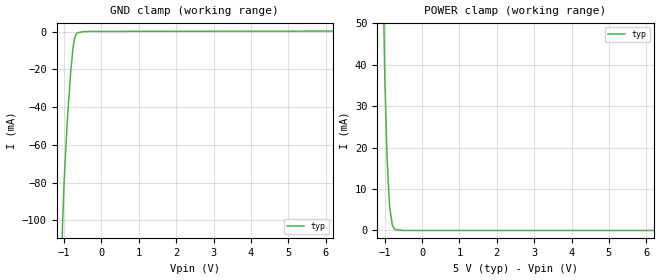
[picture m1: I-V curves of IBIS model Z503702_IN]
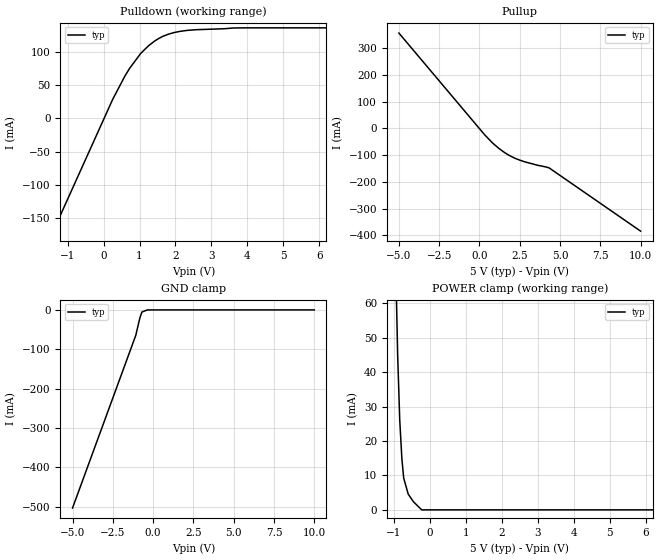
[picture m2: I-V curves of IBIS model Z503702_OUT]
| YOU ARE ONLY AUTHORIZED TO USE THIS SOFTWARE
| ACCORDING TO LICENSOR'S LICENSE RESTRICTIONS.
[IBIS Ver] 3.1
[File Name] mc74ac04n_5.ibs
[File Rev] 2.0
[Source] Measured and created by ICX Technology
[Date] Friday 7/14/00 9:07:58 AM
[Copyright]
| (C) COPYRIGHT 1993-2000
| MENTOR GRAPHICS CORPORATION
| ICX STANDARD LIBRARY, ICX PROJECT MODELING,
| ICX CUSTOM MODELING, ICX VENDOR MODEL
| ALL RIGHTS RESERVED.
| THE FOLLOWING ARE TRADEMARKS OR SERVICE MARKS OF
| MENTOR GRAPHICS CORPORATION:ICX (R), ICX STANDARD
| LIBRARY(R), ICX PROJECT MODELING(R), ICX CUSTOM
| MODELING(R), qualityIBIS(TM), MODELVIEWER(TM),
| AND MODELEDITOR(TM)
| ALL COPIES OF SOFTWARE, INCLUDING BUT NOT LIMITED TO
| ANY MODIFICATIONS, ENHANCEMENTS OR DERIVATIVE WORKS,
| MUST CONTAIN ALL MENTOR GRAPHICS CORPORATION'S
| NOTICES AND LEGENDS, INCLUDING THOSE EMBEDDED IN
| SOFTWARE AND THOSE AFFIXED TO SOFTWARE MEDIUM
| AND CONTAINER, AS RECEIVED FROM MENTOR GRAPHICS
| CORPORATION.
|  ZAP Model Builder 2.7
[Component] MC74AC04N_5
[Manufacturer] OnSemiconductor
[Package]
| variable   typ   min   max
R_pkg  .21ohms NA NA
L_pkg  4.543nH NA NA
C_pkg  1.059pF NA NA
[Pin] signal_name  model_name  R_pin  L_pin C_pin
1 A Z503702_IN .22 6.757n 1.432p
2 Y Z503702_OUT .212 4.757n 1.142p
3 A Z503702_IN .204 3.257n .852p
4 Y Z503702_OUT .196 2.257n .562p
5 A Z503702_IN .204 3.257n .852p
6 Y Z503702_OUT .212 4.757n 1.142p
7 GND GND .22 6.757n 1.432p
8 Y Z503702_OUT .22 6.757n 1.432p
9 A Z503702_IN .212 4.757n 1.142p
10 Y Z503702_OUT .204 3.257n .852p
11 A Z503702_IN .196 2.257n .562p
12 Y Z503702_OUT .204 3.257n .852p
13 A Z503702_IN .212 4.757n 1.142p
14 VCC POWER .22 6.757n 1.432p
| Models and submodels in the file (2): Z503702_IN (Input), Z503702_OUT (Output)
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| (C) COPYRIGHT 1993-2000
| MENTOR GRAPHICS CORPORATION
| ICX STANDARD LIBRARY, ICX PROJECT MODELING,
| ICX CUSTOM MODELING, ICX VENDOR MODEL
| ALL RIGHTS RESERVED.
| THE FOLLOWING ARE TRADEMARKS OR SERVICE MARKS OF
| MENTOR GRAPHICS CORPORATION:ICX (R), ICX STANDARD
| LIBRARY(R), ICX PROJECT MODELING(R), ICX CUSTOM
| MODELING(R), qualityIBIS(TM), MODELVIEWER(TM),
| AND MODELEDITOR(TM)
| ALL COPIES OF SOFTWARE, INCLUDING BUT NOT LIMITED TO
| ANY MODIFICATIONS, ENHANCEMENTS OR DERIVATIVE WORKS,
| MUST CONTAIN ALL MENTOR GRAPHICS CORPORATION'S
| NOTICES AND LEGENDS, INCLUDING THOSE EMBEDDED IN
| SOFTWARE AND THOSE AFFIXED TO SOFTWARE MEDIUM
| AND CONTAINER, AS RECEIVED FROM MENTOR GRAPHICS
| CORPORATION.
| Model Application Version 1.89 2/18/99.
[Model] Z503702_IN
Model_type Input
Vinl = 1.500V
Vinh = 3.500V
C_comp 4.000pF NA NA
| variable typ   min   max
[Voltage Range] 5.000V NA NA
[GND Clamp Reference] 0.000V NA NA
[POWER Clamp Reference] 5.000V NA NA
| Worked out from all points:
|   GND clamp passes 1 mA (typ) near -0.67 V on its own axis
|   POWER clamp passes 1 mA (typ) near -0.78 V on its own axis
[GND Clamp]
-5V       -2.665A    NA         NA
-1.177V   -213.6mA   NA         NA
-1.04V    -102.7mA   NA         NA
-999.8mV  -81.01mA   NA         NA
-918mV    -49.01mA   NA         NA
-825.1mV  -22.34mA   NA         NA
-761.7mV  -9.105mA   NA         NA
-727.5mV  -4.48mA    NA         NA
-685.6mV  -1.71mA    NA         NA
-627.8mV  -444.2uA   NA         NA
-244.1mV  182.9uA    NA         NA
10V       645uA      NA         NA
[POWER Clamp]
-5V       3.625A     NA         NA
-1.338V   274.3mA    NA         NA
-1.122V   105.1mA    NA         NA
-996mV    37.14mA    NA         NA
-933mV    17.17mA    NA         NA
-869mV    5.864mA    NA         NA
-793mV    1.252mA    NA         NA
-732mV    258.7uA    NA         NA
-488mV    0A         NA         NA
10V       0A         NA         NA
| (C) COPYRIGHT 1993-2000
| MENTOR GRAPHICS CORPORATION
| ICX STANDARD LIBRARY, ICX PROJECT MODELING,
| ICX CUSTOM MODELING, ICX VENDOR MODEL
| ALL RIGHTS RESERVED.
| THE FOLLOWING ARE TRADEMARKS OR SERVICE MARKS OF
| MENTOR GRAPHICS CORPORATION:ICX (R), ICX STANDARD
| LIBRARY(R), ICX PROJECT MODELING(R), ICX CUSTOM
| MODELING(R), qualityIBIS(TM), MODELVIEWER(TM),
| AND MODELEDITOR(TM)
| ALL COPIES OF SOFTWARE, INCLUDING BUT NOT LIMITED TO
| ANY MODIFICATIONS, ENHANCEMENTS OR DERIVATIVE WORKS,
| MUST CONTAIN ALL MENTOR GRAPHICS CORPORATION'S
| NOTICES AND LEGENDS, INCLUDING THOSE EMBEDDED IN
| SOFTWARE AND THOSE AFFIXED TO SOFTWARE MEDIUM
| AND CONTAINER, AS RECEIVED FROM MENTOR GRAPHICS
| CORPORATION.
| Model Application Version 1.89 2/18/99.
[Model] Z503702_OUT
Model_type Output
Vref=0.000V
Rref=500.0ohms
Cref=50.00pF
Vmeas=2.500V
C_comp 8.000pF NA NA
| variable typ   min   max
[Voltage Range] 5.000V NA NA
[POWER Clamp Reference] 5.000V NA NA
[Pullup Reference] 5.000V NA NA
[Pulldown Reference] 0.000V NA NA
[GND Clamp Reference] 0.000V NA NA
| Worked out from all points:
|   slope of the pulldown table from 0 to 0.75 V, typ, clamps not added: 9.5 ohm
|   slope of the pullup table from 0 to 0.75 V, typ, clamps not added: 15.1 ohm
|   POWER clamp passes 1 mA (typ) near -0.33 V on its own axis
[GND Clamp]
-5V       -503mA     NA         NA
-1.075V   -64.44mA   NA         NA
-820.3mV  -20.19mA   NA         NA
-693.3mV  -5.316mA   NA         NA
-346.7mV  0A         NA         NA
10V       0A         NA         NA
[Pulldown]
-5V       -601.4mA   NA         NA
254.2mV   28.88mA    NA         NA
595.7mV   64.11mA    NA         NA
723.9mV   75.46mA    NA         NA
1.036V    98.22mA    NA         NA
1.245V    109.3mA    NA         NA
1.416V    116.5mA    NA         NA
1.649V    123.8mA    NA         NA
1.963V    129.5mA    NA         NA
2.275V    132.4mA    NA         NA
3.612V    136.4mA    NA         NA
10V       136.6mA    NA         NA
[Pullup]
-5V       357mA      NA         NA
318mV     -23.22mA   NA         NA
820mV     -54.52mA   NA         NA
1.217V    -75.07mA   NA         NA
1.792V    -98.68mA   NA         NA
2.236V    -112.2mA   NA         NA
3.038V    -128.4mA   NA         NA
4.322V    -147.3mA   NA         NA
10V       -383.9mA   NA         NA
[POWER Clamp]
-5V       2.58A      NA         NA
-1.035V   112.6mA    NA         NA
-898mV    45.07mA    NA         NA
-840mV    26.1mA     NA         NA
-780mV    14.8mA     NA         NA
-730mV    9.252mA    NA         NA
-605mV    4.59mA     NA         NA
-458mV    2.352mA    NA         NA
-229mV    0A         NA         NA
10V       0A         NA         NA
[Ramp]
| variable typ min max
dV/dt_r 2.914/376.0p NA NA
dV/dt_f 2.914/425.4p NA NA
R_load = 500.0Ohms
